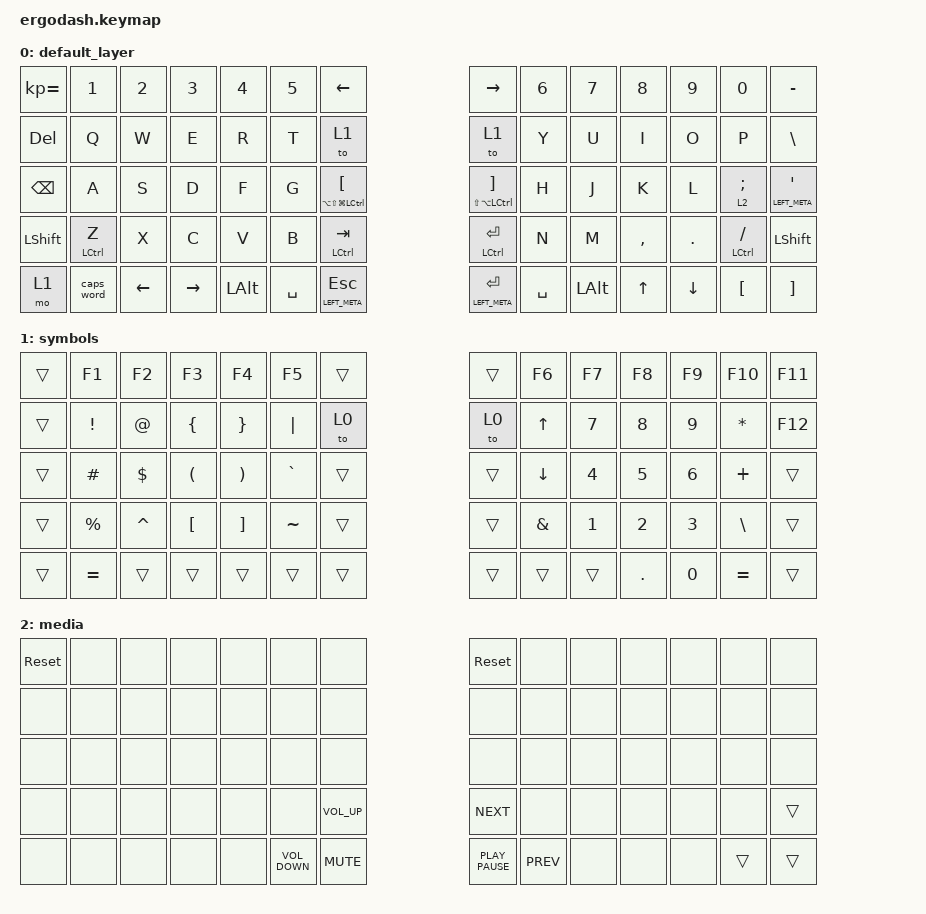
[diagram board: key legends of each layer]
/*
 * Copyright (c) 2020 The ZMK Contributors
 *
 * SPDX-License-Identifier: MIT
 */

#include <behaviors.dtsi>
#include <dt-bindings/zmk/keys.h>

#define DEFAULT 0
#define LOWER   1
#define RAISE   2

/ {
    keymap {
        compatible = "zmk,keymap";

        default_layer {
            /* QWERTY
 * .----------------------------------------------------------------------------------------------------------------------.
 * |  `   |   1  |   2  |   3  |   4  |   5  |  [   |                    |  ]   |   6  |   7  |   8  |   9  |   0  | PScr |
 * |------+------+------+------+------+------+------+--------------------+------+------+------+------+------+------+------|
 * | ESC  |   Q  |   W  |   E  |   R  |   T  |  -   |                    |  =   |   Y  |   U  |   I  |   O  |   P  |  \   |
 * |------+------+------+------+------+------+------+--------------------+------+------+------+------+------+------+------|
 * | Tab  |   A  |   S  |   D  |   F  |   G  | Del  |                    | Bksp |   H  |   J  |   K  |   L  |   ;  |  '   |
 * |------+------+------+------+------+------+---------------------------+------+------+------+------+------+------+------|
 * | Shift|   Z  |   X  |   C  |   V  |   B  | End  |                    | Home |   N  |   M  |   ,  |   .  |   /  | Shift|
 * |-------------+------+------+------+------+------+------+------+------+------+------+------+------+------+-------------|
 * | Ctrl |      | PGDN | Win  |||||||| Alt  | Space| Lower|||||||| Raise| Enter| RAlt ||||||||      | PGUP | Ins  | RCtrl|
 * .----------------------------------------------------------------------------------------------------------------------.
 */

            bindings = <
&kp KP_EQUAL   &kp NUMBER_1  &kp N2    &kp N3     &kp N4    &kp N5     &kp LEFT                            &kp RIGHT                        &kp N6     &kp N7        &kp N8        &kp N9          &kp N0            &kp MINUS
&kp DELETE     &kp Q         &kp W     &kp E      &kp R     &kp T      &to 1                               &to 1                            &kp Y      &kp U         &kp I         &kp O           &kp P             &kp BSLH
&kp BACKSPACE  &kp A         &kp S     &kp D      &kp F     &kp G      &mt LA(LS(LG(LCTRL))) LEFT_BRACKET  &mt LS(LA(LCTRL)) RIGHT_BRACKET  &kp H      &kp J         &kp K         &kp L           &lt 2 SEMICOLON   &mt LEFT_META SQT
&kp LSHFT      &mt LCTRL Z   &kp X     &kp C      &kp V     &kp B      &mt LCTRL TAB                       &mt LCTRL RETURN                 &kp N      &kp M         &kp COMMA     &kp DOT         &mt LCTRL SLASH   &kp LSHFT
&mo 1          &caps_word    &kp LEFT  &kp RIGHT  &kp LALT  &kp SPACE  &mt LEFT_META ESCAPE                &mt LEFT_META RETURN             &kp SPACE  &kp LEFT_ALT  &kp UP_ARROW  &kp DOWN_ARROW  &kp LEFT_BRACKET  &kp RIGHT_BRACKET
            >;
        };

        symbols {
            /* .----------------------------------------------------------------------------------------------------------------------.
 * |  F11 |  F1  |  F2  |  F3  |  F4  |  F5  |      |                    |      |  F6  |  F7  |  F8  |  F9  |  F10 |  F12 |
 * |------+------+------+------+------+------+------+--------------------+------+------+------+------+------+------+------|
 * |      |      |      |      |      |      |      |                    |      |      |      |      |      |      |      |
 * |------+------+------+------+------+------+------+--------------------+------+------+------+------+------+------+------|
 * |      |      |      |      |      |      |      |                    |      |      |      |      |      |      |      |
 * |------+------+------+------+------+------+---------------------------+------+------+------+------+------+------+------|
 * | Shift| Boot | Reset|      |      |      |      |                    |      |      |      |      |      |      | Shift|
 * |-------------+------+------+------+------+------+------+------+------+------+------+------+------+------+-------------|
 * | Ctlr |      |      |  Win |||||||| Alt  |      | Lower|||||||| Raise|      | RAlt ||||||||      |      |      | RCtrl|
 * .----------------------------------------------------------------------------------------------------------------------.
 *//* FIXME boot and reset are not yet locale aware */
            bindings = <
&trans  &kp F1           &kp F2       &kp F3                &kp F4                 &kp F5     &trans  &trans  &kp F6    &kp F7  &kp F8   &kp F9  &kp F10    &kp F11
&trans  &kp EXCLAMATION  &kp AT_SIGN  &kp LEFT_BRACE        &kp RIGHT_BRACE        &kp PIPE   &to 0   &to 0   &kp UP    &kp N7  &kp N8   &kp N9  &kp STAR   &kp F12
&trans  &kp HASH         &kp DOLLAR   &kp LEFT_PARENTHESIS  &kp RIGHT_PARENTHESIS  &kp GRAVE  &trans  &trans  &kp DOWN  &kp N4  &kp N5   &kp N6  &kp PLUS   &trans
&trans  &kp PERCENT      &kp CARET    &kp LEFT_BRACKET      &kp RIGHT_BRACKET      &kp TILDE  &trans  &trans  &kp AMPS  &kp N1  &kp N2   &kp N3  &kp BSLH   &trans
&trans  &kp EQUAL        &trans       &trans                &trans                 &trans     &trans  &trans  &trans    &trans  &kp DOT  &kp N0  &kp EQUAL  &trans
            >;
        };

        media {
            /* .----------------------------------------------------------------------------------------------------------------------.
 * |      | BT 0 | BT 1 | BT 2 | BT 3 |      | BTCL |                    |      |      |      |      |      |      |      |
 * |------+------+------+------+------+------+------+--------------------+------+------+------+------+------+------+------|
 * |      |      |      |      |      |      |      |                    |      |      |      |      |      |      |      |
 * |------+------+------+------+------+------+------+--------------------+------+------+------+------+------+------+------|
 * |      |      |      |      |      |      |      |                    |      |      |      |      |      |      |      |
 * |------+------+------+------+------+------+---------------------------+------+------+------+------+------+------+------|
 * | Shift|      |      |      |      |      |      |                    |      |      |      |      | Boot | Reset| Shift|
 * |-------------+------+------+------+------+------+------+------+------+------+------+------+------+------+-------------|
 * | Ctlr |      |      |  Win |||||||| Alt  |      | Lower|||||||| Raise|      | RAlt ||||||||      |      |      | RCtrl|
 * .----------------------------------------------------------------------------------------------------------------------.
 *//* FIXME boot and reset are not yet locale aware */
            bindings = <
&sys_reset  &none  &none  &none  &none  &none              &none            &sys_reset        &none       &none  &none  &none  &none   &none
&none       &none  &none  &none  &none  &none              &none            &none             &none       &none  &none  &none  &none   &none
&none       &none  &none  &none  &none  &none              &none            &none             &none       &none  &none  &none  &none   &none
&none       &none  &none  &none  &none  &none              &kp C_VOLUME_UP  &kp K_NEXT        &none       &none  &none  &none  &none   &trans
&none       &none  &none  &none  &none  &kp C_VOLUME_DOWN  &kp K_MUTE       &kp K_PLAY_PAUSE  &kp K_PREV  &none  &none  &none  &trans  &trans
            >;
        };
    };
};
